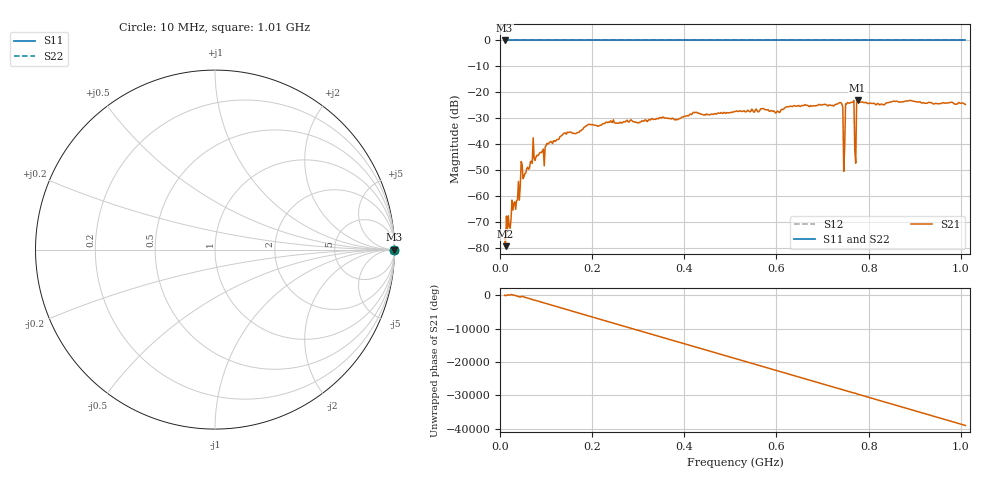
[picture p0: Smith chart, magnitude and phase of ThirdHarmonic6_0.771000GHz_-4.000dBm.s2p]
! 8/16/2025 1:44:47 AM
! C:\ANRITSUVNA\TEMP\TEMP.S2P
! CHANNEL.1
! TR.MEASUREMENT
! RAW.DATA
! RF.CORRECTION.OFF
! AVERAGING.OFF
! IF.BANDWIDTH: 5KHZ
! SWEEPTYPE:  FREQ.SWEEP(Linear)
! Reference Plane Port Info
! PORT:  PORT1  PORT2
! DISTANCE:  0  m  0  m
! TIME:  0  s  0  s
! PHASE.OFFSET:  0  deg.  0  deg.
! LOSS:  0  dB  0  dB
! REF.LOSS:  0  dB  0  dB
! REF.FREQ:  0  Hz  0  Hz
! Power Info
! POWER:  -20  dBm  -20  dBm
! EFF.POWER:  -20  dBm  -20  dBm
! SOURCE.ATTEN:  0  dB  0  dB
! TEST.ATTEN:  0  dB  0  dB
# GHZ S RI R 50.0
! FREQ.GHZ  S11RE  S11IM  S21RE  S21IM  S12RE  S12IM  S22RE  S22IM
!; PortSelection: Port_12
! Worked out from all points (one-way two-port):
!   501 points, 10 MHz to 1.01 GHz, reference 50 ohm
!   highest |S21| = -23.05 dB at 776 MHz (marker M1); lowest = -79.4 dB at 12 MHz (marker M2)
!   lowest |S11| = 0.0 dB at 10 MHz (marker M3)
!   |S11| at or under -10 dB: nowhere
!   |S22| runs from 0.0 to 0.0 dB; largest |S21 - S12| = 1.1
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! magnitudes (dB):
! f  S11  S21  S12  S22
! 10 MHz  0.0  -76.0  0.0  0.0
! 12 MHz  0.0  -79.4  0.0  0.0
! 38 MHz  0.0  -61.5  0.0  0.0
! 44 MHz  0.0  -56.0  0.0  0.0
! 70 MHz  0.0  -47.4  0.0  0.0
! 178 MHz  0.0  -34.4  0.0  0.0
! 344 MHz  0.0  -30.2  0.0  0.0
! 510 MHz  0.0  -27.5  0.0  0.0
! 678 MHz  0.0  -25.3  0.0  0.0
! 738 MHz  0.0  -24.0  0.0  0.0
! 740 MHz  0.0  -24.0  0.0  0.0
! 744 MHz  0.0  -25.8  0.0  0.0
! 746 MHz  0.0  -50.5  0.0  0.0
! 750 MHz  0.0  -24.5  0.0  0.0
! 754 MHz  0.0  -24.0  0.0  0.0
! 764 MHz  0.0  -23.9  0.0  0.0
! 768 MHz  0.0  -23.2  0.0  0.0
! 774 MHz  0.0  -23.6  0.0  0.0
! 776 MHz  0.0  -23.0  0.0  0.0
! 778 MHz  0.0  -23.5  0.0  0.0
! 844 MHz  0.0  -23.9  0.0  0.0
! 1.01 GHz  0.0  -24.7  0.0  0.0
